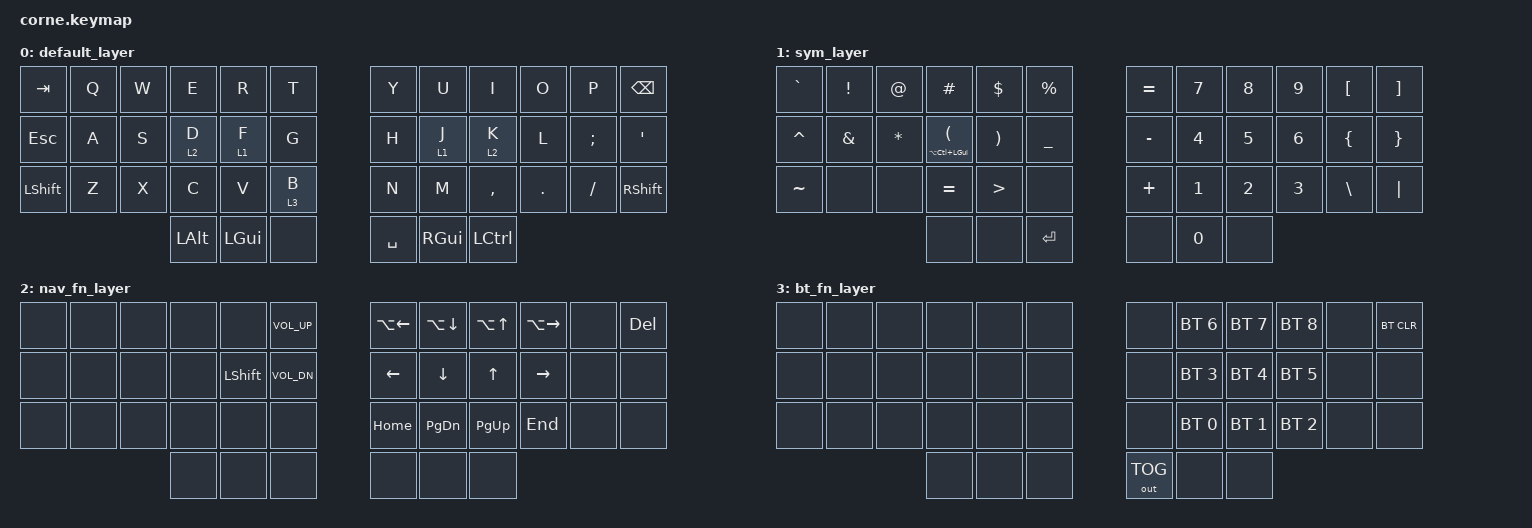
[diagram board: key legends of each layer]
/*
 * Copyright (c) 2020 The ZMK Contributors
 *
 * SPDX-License-Identifier: MIT
 */

#include <behaviors.dtsi>
#include <dt-bindings/zmk/keys.h>
#include <dt-bindings/zmk/bt.h>
#include <dt-bindings/zmk/outputs.h>

// WMV - Window moving shortcuts
#define WMV LA(LC(LGUI))

&mt {
  flavor = "tap-preferred";
};

/ {
  keymap {
    compatible = "zmk,keymap";

    default_layer {
      //                             |-----------------------------------|             |-----------------------------------|
      //                             | TAB |  Q  |  W  |  E  |  R  |  T  |             |  Y  |  U  |  I  |  O  |  P  |BKSP |
      //                             | ESC |  A  |  S  |  D* |  F* |  G  |             |  H  |  J* |  K* |  L  |  ;  | '   |
      //                             | SHFT|  Z  |  X  |  C  |  V  |  B* |---|     |---|  N  |  M  |  ,  |  .  |  /  |SHFT |
      //                             |---------------------| ALT | GUI |     |     | SPC | GUI |CTRL |---------------------|
      //                                                   |-----------------|     |-----------------|
      bindings = <
                         &kp TAB   &kp Q &kp W &kp E   &kp R   &kp T   /*|             |*/ &kp Y &kp U   &kp I     &kp O   &kp P    &kp BSPC
                         &kp ESC   &kp A &kp S &lt 2 D &lt 1 F &kp G   /*|             |*/ &kp H &lt 1 J &lt 2 K   &kp L   &kp SEMI &kp SQT
                         &kp LSHFT &kp Z &kp X &kp C   &kp V   &lt 3 B /*|             |*/ &kp N &kp M   &kp COMMA &kp DOT &kp FSLH &kp RSHFT
                                                   &kp LALT &kp LGUI &none /*|     |*/ &kp SPC &kp RGUI &kp LCTRL
      >;
    };

    sym_layer {
      //                             |-----------------------------------|             |-----------------------------------|
      //                             |  `  |  !  |  @  |  #  |  $  |  %  |             |  =  |  7  |  8  |  9  |  [  |  ]  |
      //                             |  ^  |  &  |  *  |  (* |  )  |  _  |             |  -  |  4  |  5  |  6  |  {  |  }  |
      //                             |  ~  |     |     |  =  |  >  |     |---|     |---|  +  |  1  |  2  |  3  |  \  |  |  |
      //                             |---------------------|     |     | ENT |     |     |  0  |     |---------------------|
      //                                                   |-----------------|     |-----------------|
      bindings = <
          &kp GRAVE &kp EXCL &kp AT    &kp POUND    &kp DLLR &kp PRCNT /*|             |*/ &kp EQUAL &kp N7 &kp N8 &kp N9 &kp LBKT &kp RBKT
          &kp CARET &kp AMPS &kp ASTRK &mt WMV LPAR &kp RPAR &kp UNDER /*|             |*/ &kp MINUS &kp N4 &kp N5 &kp N6 &kp LBRC &kp RBRC
          &kp TILDE &none    &none     &kp EQUAL    &kp GT   &none     /*|             |*/ &kp PLUS  &kp N1 &kp N2 &kp N3 &kp BSLH &kp PIPE
                                                       &none &none &kp RET /*|     |*/ &none &kp N0 &none
      >;
    };

    nav_fn_layer {
      //                             |-----------------------------------|             |-----------------------------------|
      //                             |     |     |     |     |     | +VOL|             |ALFT | ADN | AUP |ARGT |     | DEL |
      //                             |     |     |     |     | SHFT| -VOL|             | LFT |  DN |  UP | RGT |     |     |
      //                             |     |     |     |     |     |     |---|     |---|HOME |PGDN |PGUP | END |     |     |
      //                             |---------------------|     |     |     |     |     |     |     |---------------------|
      //                                                   |-----------------|     |-----------------|
      bindings = <
                        &none &none &none &none &none     &kp C_VOL_UP /*|             |*/ &kp LA(LEFT) &kp LA(DOWN) &kp LA(UP) &kp LA(RIGHT) &none &kp DEL
                        &none &none &none &none &kp LSHFT &kp C_VOL_DN /*|             |*/ &kp LEFT     &kp DOWN     &kp UP     &kp RIGHT     &none &none
                        &none &none &none &none &none     &none        /*|             |*/ &kp HOME     &kp PG_DN    &kp PG_UP  &kp END       &none &none
                                                         &none &none &none /*|     |*/ &none &none &none
      >;
    };

    bt_fn_layer {
      //                             |-----------------------------------|             |-----------------------------------|
      //                             |     |     |     |     |     |     |             |     | BT7 | BT8 | BT9 |     | BTC |
      //                             |     |     |     |     |     |     |             |     | BT4 | BT5 | BT6 |     |     |
      //                             |     |     |     |     |     |     |---|     |---|     | BT1 | BT2 | BT3 |     |     |
      //                             |---------------------|     |     |     |     | OUT |     |     |---------------------|
      //                                                   |-----------------|     |-----------------|
      bindings = <
                                   &none &none &none &none &none &none /*|             |*/ &none &bt BT_SEL 6 &bt BT_SEL 7 &bt BT_SEL 8 &none &bt BT_CLR
                                   &none &none &none &none &none &none /*|             |*/ &none &bt BT_SEL 3 &bt BT_SEL 4 &bt BT_SEL 5 &none &none
                                   &none &none &none &none &none &none /*|             |*/ &none &bt BT_SEL 0 &bt BT_SEL 1 &bt BT_SEL 2 &none &none
                                                         &none &none &none /*|     |*/ &out OUT_TOG &none &none
      >;
    };
  };
};
